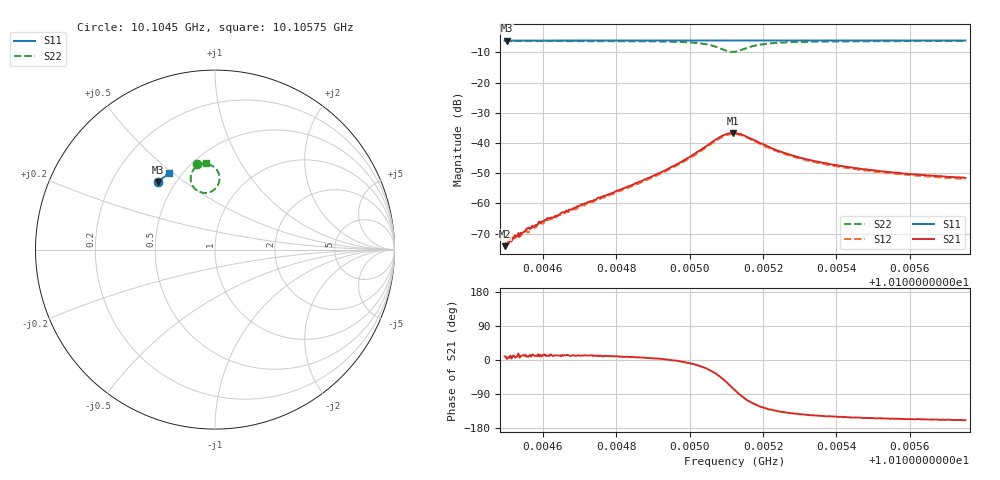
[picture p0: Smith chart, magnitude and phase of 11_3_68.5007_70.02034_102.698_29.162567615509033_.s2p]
#  HZ  S  RI  R  50.00
! Rohde & Schwarz Vector Network Analyzer
! Rohde-Schwarz,ZNB20-2Port,1311601062101988,3.16
! Created: UTC 3/20/2024, 4:49:02 PM
! freq[Hz]  re:S11  im:S11  re:S21  im:S21  re:S12  im:S12  re:S22  im:S22
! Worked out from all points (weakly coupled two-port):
!   401 points, 10.1045 GHz to 10.10575 GHz, reference 50 ohm
!   highest |S21| = -36.65 dB at 10.10512 GHz (marker M1); lowest = -74.1 dB at 10.1045 GHz (marker M2)
!   lowest |S11| = -6.1 dB at 10.1045 GHz (marker M3), VSWR 2.94, Z = 20.2 + j20.1 ohm
!   |S11| at or under -10 dB: nowhere
!   |S22| runs from -9.9 to -6.3 dB; largest |S21 - S12| = 0.0017
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1.0104496e10  -0.3169 0.3774  0.000194 3.24e-05  0.000201 4.15e-05  -0.0979 0.4753
1.0104502e10  -0.3165 0.3776  0.000215 1.02e-05  0.000191 5.75e-05  -0.0973 0.4754
1.0104515e10  -0.316 0.3781  0.000236 1.57e-05  0.000261 6.67e-05  -0.0962 0.4756
1.0104527e10  -0.3154 0.3786  0.000281 3.81e-05  0.000269 8.3e-05  -0.0952 0.4758
1.010454e10  -0.3149 0.3792  0.000323 5.68e-05  0.000272 0.000113  -0.0941 0.4761
1.0104556e10  -0.3141 0.3796  0.000379 5.56e-05  0.000344 0.000105  -0.0926 0.4763
1.010459e10  -0.3126 0.3813  0.000496 8.2e-05  0.00045 0.000138  -0.0892 0.4768
1.0104706e10  -0.3071 0.3857  0.000948 0.000196  0.000867 0.000291  -0.0766 0.4786
1.0104857e10  -0.2999 0.3918  0.00218 0.000279  0.00205 0.000446  -0.0529 0.4789
1.0104917e10  -0.2972 0.3942  0.00315 0.000191  0.00298 0.000413  -0.0385 0.4765
1.0104998e10  -0.2931 0.3973  0.00572 -0.00083  0.00552 -0.000237  -0.00683 0.4614
1.0105067e10  -0.2895 0.3996  0.00911 -0.00603  0.00925 -0.00484  0.0254 0.3972
1.0105095e10  -0.288 0.4002  0.00788 -0.0111  0.00875 -0.00972  0.0048 0.3429
1.0105117e10  -0.2873 0.4008  0.00395 -0.0142  0.00525 -0.0132  -0.0452 0.3165
1.0105124e10  -0.2872 0.4009  0.0026 -0.0143  0.00386 -0.0136  -0.0617 0.3161
1.0105158e10  -0.286 0.4023  -0.00364 -0.0119  -0.00232 -0.0119  -0.1248 0.3559
1.0105205e10  -0.284 0.4042  -0.00553 -0.00744  -0.0046 -0.00751  -0.1338 0.4138
1.0105271e10  -0.2808 0.4069  -0.00494 -0.00415  -0.00437 -0.00443  -0.1165 0.4489
1.0105334e10  -0.2777 0.4094  -0.00423 -0.00287  -0.00381 -0.00312  -0.1018 0.4625
1.0105431e10  -0.273 0.4129  -0.00352 -0.00195  -0.00319 -0.00213  -0.0854 0.4723
1.0105544e10  -0.2674 0.417  -0.003 -0.0014  -0.00276 -0.00159  -0.0714 0.4779
1.0105751e10  -0.2569 0.424  -0.00247 -0.000962  -0.00228 -0.00115  -0.0514 0.483
